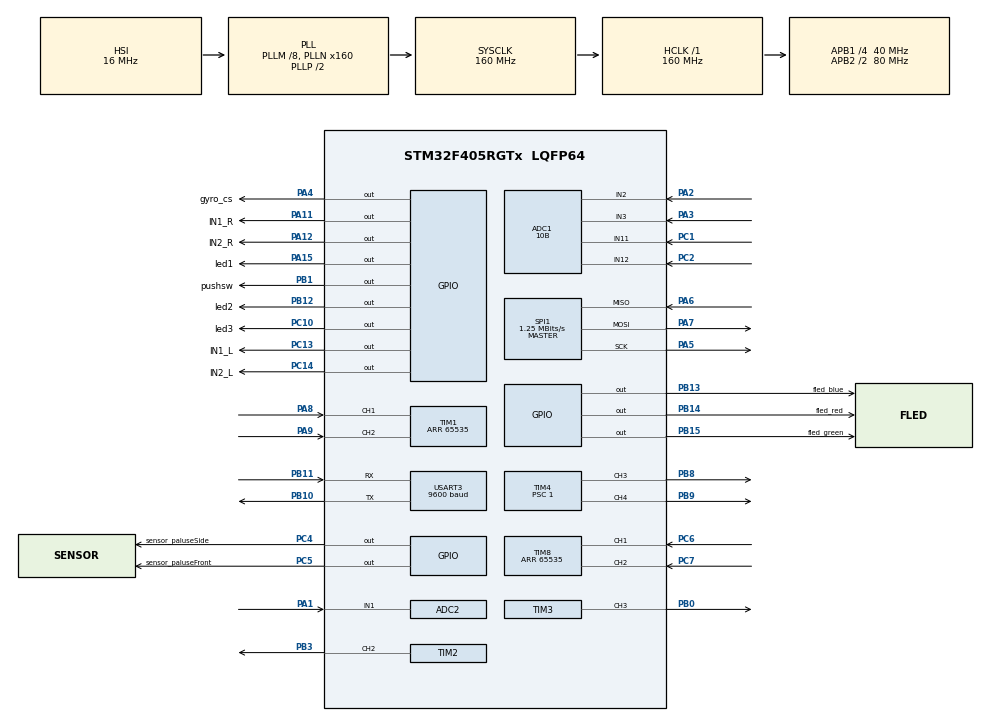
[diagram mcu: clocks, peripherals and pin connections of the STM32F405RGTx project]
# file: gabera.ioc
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ADC1.Channel-0\#ChannelRegularConversion=ADC_CHANNEL_11
ADC1.Channel-1\#ChannelRegularConversion=ADC_CHANNEL_3
ADC1.Channel-2\#ChannelRegularConversion=ADC_CHANNEL_12
ADC1.Channel-3\#ChannelRegularConversion=ADC_CHANNEL_2
ADC1.ClockPrescaler=ADC_CLOCK_SYNC_PCLK_DIV4
ADC1.ContinuousConvMode=ENABLE
ADC1.DMAContinuousRequests=ENABLE
ADC1.DataAlign=ADC_DATAALIGN_RIGHT
ADC1.DiscontinuousConvMode=DISABLE
ADC1.EOCSelection=ADC_EOC_SINGLE_CONV
ADC1.EnableAnalogWatchDog=false
ADC1.ExternalTrigConv=ADC_SOFTWARE_START
ADC1.ExternalTrigConvEdge=ADC_EXTERNALTRIGCONVEDGE_NONE
ADC1.InjNumberOfConversion=0
ADC1.NbrOfConversion=4
ADC1.NbrOfConversionFlag=1
ADC1.Rank-0\#ChannelRegularConversion=1
ADC1.Rank-1\#ChannelRegularConversion=2
ADC1.Rank-2\#ChannelRegularConversion=3
ADC1.Rank-3\#ChannelRegularConversion=4
ADC1.Resolution=ADC_RESOLUTION_10B
ADC1.SamplingTime-0\#ChannelRegularConversion=ADC_SAMPLETIME_15CYCLES
ADC1.SamplingTime-1\#ChannelRegularConversion=ADC_SAMPLETIME_15CYCLES
ADC1.SamplingTime-2\#ChannelRegularConversion=ADC_SAMPLETIME_15CYCLES
ADC1.SamplingTime-3\#ChannelRegularConversion=ADC_SAMPLETIME_15CYCLES
ADC1.ScanConvMode=ENABLE
ADC1.master=1
ADC2.Channel-0\#ChannelRegularConversion=ADC_CHANNEL_1
ADC2.ClockPrescaler=ADC_CLOCK_SYNC_PCLK_DIV4
ADC2.ContinuousConvMode=ENABLE
ADC2.DMAContinuousRequests=DISABLE
ADC2.DataAlign=ADC_DATAALIGN_RIGHT
ADC2.DiscontinuousConvMode=DISABLE
ADC2.EOCSelection=ADC_EOC_SINGLE_CONV
ADC2.EnableAnalogWatchDog=false
ADC2.ExternalTrigConv=ADC_SOFTWARE_START
ADC2.ExternalTrigConvEdge=ADC_EXTERNALTRIGCONVEDGE_NONE
ADC2.InjNumberOfConversion=0
ADC2.NbrOfConversion=1
ADC2.NbrOfConversionFlag=1
ADC2.Rank-0\#ChannelRegularConversion=1
ADC2.Resolution=ADC_RESOLUTION_10B
ADC2.SamplingTime-0\#ChannelRegularConversion=ADC_SAMPLETIME_28CYCLES
ADC2.ScanConvMode=DISABLE
Dma.ADC1.0.Direction=DMA_PERIPH_TO_MEMORY
Dma.ADC1.0.FIFOMode=DMA_FIFOMODE_DISABLE
Dma.ADC1.0.Instance=DMA2_Stream4
Dma.ADC1.0.MemDataAlignment=DMA_MDATAALIGN_HALFWORD
Dma.ADC1.0.MemInc=DMA_MINC_ENABLE
Dma.ADC1.0.Mode=DMA_NORMAL
Dma.ADC1.0.PeriphDataAlignment=DMA_PDATAALIGN_HALFWORD
Dma.ADC1.0.PeriphInc=DMA_PINC_DISABLE
Dma.ADC1.0.Priority=DMA_PRIORITY_LOW
Dma.Request0=ADC1
Mcu.Family=STM32F4
Mcu.Name=STM32F405RGTx
Mcu.Package=LQFP64
NVIC.DMA2_Stream4_IRQn=true\:0\:0\:false\:false\:true\:false\:true
NVIC.PriorityGroup=NVIC_PRIORITYGROUP_4
PA1.Signal=ADCx_IN1
PA11.GPIO_Label=IN1_R
PA11.Signal=GPIO_Output
PA12.GPIO_Label=IN2_R
PA12.Signal=GPIO_Output
PA15.GPIO_Label=led1
PA15.Signal=GPIO_Output
PA2.Signal=ADCx_IN2
PA3.Signal=ADCx_IN3
PA4.GPIO_Label=gyro_cs
PA4.Signal=GPIO_Output
PA5.Mode=Full_Duplex_Master
PA5.Signal=SPI1_SCK
PA6.Mode=Full_Duplex_Master
PA6.Signal=SPI1_MISO
PA7.Mode=Full_Duplex_Master
PA7.Signal=SPI1_MOSI
PA8.Signal=S_TIM1_CH1
PA9.Signal=S_TIM1_CH2
PB0.Signal=S_TIM3_CH3
PB1.GPIO_Label=pushsw
PB1.Signal=GPIO_Output
PB10.Mode=Asynchronous
PB10.Signal=USART3_TX
PB11.Mode=Asynchronous
PB11.Signal=USART3_RX
PB12.GPIO_Label=led2
PB12.Signal=GPIO_Output
PB13.GPIO_Label=fled_blue
PB13.Signal=GPIO_Output
PB14.GPIO_Label=fled_red
PB14.Signal=GPIO_Output
PB15.GPIO_Label=fled_green
PB15.Signal=GPIO_Output
PB3.Signal=S_TIM2_CH2
PB8.Signal=S_TIM4_CH3
PB9.Signal=S_TIM4_CH4
PC1.Signal=ADCx_IN11
PC10.GPIO_Label=led3
PC10.Signal=GPIO_Output
PC13-ANTI_TAMP.GPIO_Label=IN1_L
PC13-ANTI_TAMP.Signal=GPIO_Output
PC14-OSC32_IN.GPIO_Label=IN2_L
PC14-OSC32_IN.Signal=GPIO_Output
PC2.Signal=ADCx_IN12
PC4.GPIO_Label=sensor_paluseSide
PC4.Signal=GPIO_Output
PC5.GPIO_Label=sensor_paluseFront
PC5.Signal=GPIO_Output
PC6.Signal=S_TIM8_CH1
PC7.Signal=S_TIM8_CH2
PH0-OSC_IN.Mode=HSE-External-Oscillator
PH0-OSC_IN.Signal=RCC_OSC_IN
PH1-OSC_OUT.Mode=HSE-External-Oscillator
PH1-OSC_OUT.Signal=RCC_OSC_OUT
ProjectManager.HeapSize=0x200
ProjectManager.StackSize=0x400
ProjectManager.TargetToolchain=Makefile
RCC.48MHZClocksFreq_Value=80000000
RCC.AHBFreq_Value=160000000
RCC.APB1CLKDivider=RCC_HCLK_DIV4
RCC.APB1Freq_Value=40000000
RCC.APB1TimFreq_Value=80000000
RCC.APB2CLKDivider=RCC_HCLK_DIV2
RCC.APB2Freq_Value=80000000
RCC.APB2TimFreq_Value=160000000
RCC.CortexFreq_Value=160000000
RCC.HCLKFreq_Value=160000000
RCC.HSE_VALUE=20000000
RCC.HSI_VALUE=16000000
RCC.LSE_VALUE=32768
RCC.PLLM=8
RCC.PLLN=160
RCC.SYSCLKFreq_VALUE=160000000
RCC.SYSCLKSource=RCC_SYSCLKSOURCE_PLLCLK
RCC.VCOOutputFreq_Value=320000000
SH.ADCx_IN1.0=ADC2_IN1,IN1
SH.ADCx_IN11.0=ADC1_IN11,IN11
SH.ADCx_IN12.0=ADC1_IN12,IN12
SH.ADCx_IN2.0=ADC1_IN2,IN2
SH.ADCx_IN3.0=ADC1_IN3,IN3
SH.S_TIM1_CH1.0=TIM1_CH1,Encoder_Interface
SH.S_TIM1_CH2.0=TIM1_CH2,Encoder_Interface
SH.S_TIM2_CH2.0=TIM2_CH2,PWM Generation2 CH2
SH.S_TIM3_CH3.0=TIM3_CH3,PWM Generation3 CH3
SH.S_TIM4_CH3.0=TIM4_CH3,PWM Generation3 CH3
SH.S_TIM4_CH4.0=TIM4_CH4,PWM Generation4 CH4
SH.S_TIM8_CH1.0=TIM8_CH1,Encoder_Interface
SH.S_TIM8_CH2.0=TIM8_CH2,Encoder_Interface
SPI1.BaudRatePrescaler=SPI_BAUDRATEPRESCALER_64
SPI1.CalculateBaudRate=1.25 MBits/s
SPI1.Direction=SPI_DIRECTION_2LINES
SPI1.Mode=SPI_MODE_MASTER
SPI1.VirtualType=VM_MASTER
TIM1.EncoderMode=TIM_ENCODERMODE_TI12
TIM1.Period=65535
TIM2.Channel-PWM\ Generation2\ CH2=TIM_CHANNEL_2
TIM2.Period=99
TIM2.Prescaler=15
TIM3.Channel-PWM\ Generation3\ CH3=TIM_CHANNEL_3
TIM3.Period=99
TIM3.Prescaler=799
TIM4.Channel-PWM\ Generation3\ CH3=TIM_CHANNEL_3
TIM4.Channel-PWM\ Generation4\ CH4=TIM_CHANNEL_4
TIM4.Period=399
TIM4.Prescaler=1
TIM8.EncoderMode=TIM_ENCODERMODE_TI12
TIM8.Period=65535
USART3.BaudRate=9600
USART3.VirtualMode=VM_ASYNC
board=novem

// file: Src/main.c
/* USER CODE BEGIN Header */
/**
  ******************************************************************************
  * @file           : main.c
  * @brief          : Main program body
  ******************************************************************************
  ** This notice applies to any and all portions of this file
  * that are not between comment pairs USER CODE BEGIN and
  * USER CODE END. Other portions of this file, whether
  * inserted by the user or by software development tools
  * are owned by their respective copyright owners.
  *
  * COPYRIGHT(c) 2018 STMicroelectronics
  *
  * Redistribution and use in source and binary forms, with or without modification,
  * are permitted provided that the following conditions are met:
  *   1. Redistributions of source code must retain the above copyright notice,
  *      this list of conditions and the following disclaimer.
  *   2. Redistributions in binary form must reproduce the above copyright notice,
  *      this list of conditions and the following disclaimer in the documentation
  *      and/or other materials provided with the distribution.
  *   3. Neither the name of STMicroelectronics nor the names of its contributors
  *      may be used to endorse or promote products derived from this software
  *      without specific prior written permission.
  *
  * THIS SOFTWARE IS PROVIDED BY THE COPYRIGHT HOLDERS AND CONTRIBUTORS "AS IS"
  * AND ANY EXPRESS OR IMPLIED WARRANTIES, INCLUDING, BUT NOT LIMITED TO, THE
  * IMPLIED WARRANTIES OF MERCHANTABILITY AND FITNESS FOR A PARTICULAR PURPOSE ARE
  * DISCLAIMED. IN NO EVENT SHALL THE COPYRIGHT HOLDER OR CONTRIBUTORS BE LIABLE
  * FOR ANY DIRECT, INDIRECT, INCIDENTAL, SPECIAL, EXEMPLARY, OR CONSEQUENTIAL
  * DAMAGES (INCLUDING, BUT NOT LIMITED TO, PROCUREMENT OF SUBSTITUTE GOODS OR
  * SERVICES; LOSS OF USE, DATA, OR PROFITS; OR BUSINESS INTERRUPTION) HOWEVER
  * CAUSED AND ON ANY THEORY OF LIABILITY, WHETHER IN CONTRACT, STRICT LIABILITY,
  * OR TORT (INCLUDING NEGLIGENCE OR OTHERWISE) ARISING IN ANY WAY OUT OF THE USE
  * OF THIS SOFTWARE, EVEN IF ADVISED OF THE POSSIBILITY OF SUCH DAMAGE.
  *
  ******************************************************************************
  */
/* USER CODE END Header */

#include "main.h"
#include "adc.h"
#include "dma.h"
#include "spi.h"
#include "tim.h"
#include "usart.h"
#include "gpio.h"

/* USER CODE BEGIN Includes */
#include <stdio.h>
#include <stdint.h>

#include "variable.h"
#include "function.h"
#include "led.h"
#include "buzzer.h"

#include "run.h"

#include "mode.h"

#ifdef __GNUC__
#define PUTCHAR_PROTOTYPE int __io_putchar(int ch)
#else
#define PUTCHAR_PROTOTYPE int fputc(int ch, FILE *f)
#endif /* __GNUC__ */
void __io_putchar(uint8_t ch) {
HAL_UART_Transmit(&huart3, &ch, 1, 1);
}
/* USER CODE END Includes */

/* USER CODE BEGIN PV */
/* Private variables ---------------------------------------------------------*/

/* USER CODE END PV */

void SystemClock_Config(void);
/* USER CODE BEGIN PFP */
/* Private function prototypes -----------------------------------------------*/

/* USER CODE END PFP */

int main(void)
{

  /* MCU Configuration--------------------------------------------------------*/

  /* Reset of all peripherals, Initializes the Flash interface and the Systick. */
  HAL_Init();

  /* Configure the system clock */
  SystemClock_Config();

  /* Initialize all configured peripherals */
  MX_GPIO_Init();
  MX_DMA_Init();
  MX_ADC1_Init();
  MX_ADC2_Init();
  MX_USART3_UART_Init();
  MX_TIM8_Init();
  MX_TIM1_Init();
  MX_TIM4_Init();
  MX_SPI1_Init();
  MX_TIM3_Init();
  MX_TIM2_Init();
  /* USER CODE BEGIN 2 */
  machine_init();
  /* USER CODE END 2 */

  /* Infinite loop */
  while (1)
  {

    /* USER CODE BEGIN 3 */
    printf( "gyro z%4.4f, batt_voltage : %2.2f, vel l : %4.4f, r : %4.4f\r",rotation_real.velocity, batt_monitor, left_real.velocity, right_real.velocity );

    if( mode_counter == 0 ){
      certainLedOut( LED_OFF );
      fullColorLedOut( LED_OFF );
    } else if ( mode_counter == 8 ){
      certainLedOut( LED_BOTH );
      fullColorLedOut( LED_OFF );
    } else {
      certainLedOut( LED_OFF );
      fullColorLedOut( mode_counter );
    }

    if ( mode_distance > 30.0f ){
      mode_counter++;
      mode_distance = 0.0f;
      if ( mode_counter > 8 ) mode_counter = 0;
      buzzermodeSelect( mode_counter );
      waitMotion( 300 );
    }

    if ( mode_distance < -30.0f ){
      mode_counter--;
      mode_distance = 0.0f;
      if ( mode_counter < 0 ) mode_counter = 8;
      buzzermodeSelect( mode_counter );
      waitMotion( 300 );
    }

    if ( getPushsw() ){
      modeSelect( mode_counter );
    }

    if ( batt_monitor < 7.3f ){
      while( 1 ){
        certainLedOut( 0x0f );
        fullColorLedOut( LED_RED );
        waitMotion( 1000 );
        certainLedOut( LED_OFF );
        fullColorLedOut( LED_OFF );
        waitMotion( 1000 );
      }
    }
  }
  /* USER CODE END 3 */
}

void SystemClock_Config(void)
{
  RCC_OscInitTypeDef RCC_OscInitStruct = {0};
  RCC_ClkInitTypeDef RCC_ClkInitStruct = {0};

  /**Configure the main internal regulator output voltage
  */
  __HAL_RCC_PWR_CLK_ENABLE();
  __HAL_PWR_VOLTAGESCALING_CONFIG(PWR_REGULATOR_VOLTAGE_SCALE1);
  /**Initializes the CPU, AHB and APB busses clocks
  */
  RCC_OscInitStruct.OscillatorType = RCC_OSCILLATORTYPE_HSI;
  RCC_OscInitStruct.HSIState = RCC_HSI_ON;
  RCC_OscInitStruct.HSICalibrationValue = RCC_HSICALIBRATION_DEFAULT;
  RCC_OscInitStruct.PLL.PLLState = RCC_PLL_ON;
  RCC_OscInitStruct.PLL.PLLSource = RCC_PLLSOURCE_HSI;
  RCC_OscInitStruct.PLL.PLLM = 8;
  RCC_OscInitStruct.PLL.PLLN = 160;
  RCC_OscInitStruct.PLL.PLLP = RCC_PLLP_DIV2;
  RCC_OscInitStruct.PLL.PLLQ = 4;
  if (HAL_RCC_OscConfig(&RCC_OscInitStruct) != HAL_OK)
  {
    Error_Handler();
  }
  /**Initializes the CPU, AHB and APB busses clocks
  */
  RCC_ClkInitStruct.ClockType = RCC_CLOCKTYPE_HCLK|RCC_CLOCKTYPE_SYSCLK
                              |RCC_CLOCKTYPE_PCLK1|RCC_CLOCKTYPE_PCLK2;
  RCC_ClkInitStruct.SYSCLKSource = RCC_SYSCLKSOURCE_PLLCLK;
  RCC_ClkInitStruct.AHBCLKDivider = RCC_SYSCLK_DIV1;
  RCC_ClkInitStruct.APB1CLKDivider = RCC_HCLK_DIV4;
  RCC_ClkInitStruct.APB2CLKDivider = RCC_HCLK_DIV2;

  if (HAL_RCC_ClockConfig(&RCC_ClkInitStruct, FLASH_LATENCY_5) != HAL_OK)
  {
    Error_Handler();
  }
}

void Error_Handler(void)
{
  while(1)
  {
  }
}

/************************ (C) COPYRIGHT STMicroelectronics *****END OF FILE****/
